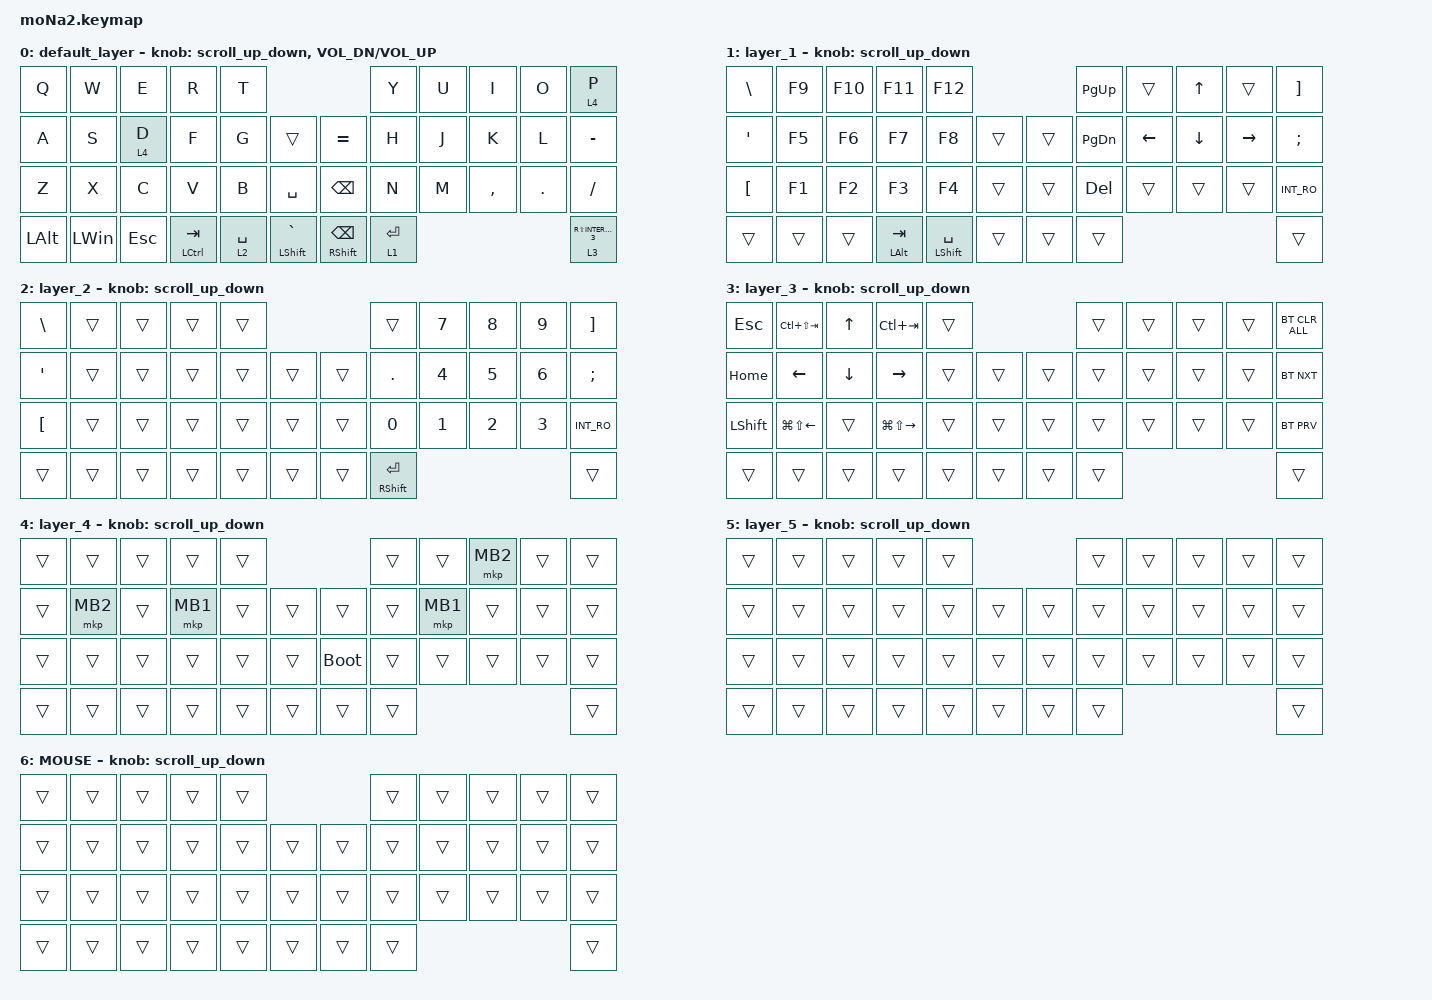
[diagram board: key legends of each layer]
#include <behaviors.dtsi>
#include <dt-bindings/zmk/bt.h>
#include <dt-bindings/zmk/keys.h>
#include <dt-bindings/zmk/pointing.h>
#include <dt-bindings/zmk/pointing.h>

#define ZMK_POINTING_DEFAULT_SCRL_VAL 100
#define MOUSE 6

&mt {
    flavor = "balanced";
    quick-tap-ms = <0>;
};

/ {
    combos { compatible = "zmk,combos"; };

    macros {
        to_layer_0: to_layer_0 {
            compatible = "zmk,behavior-macro-one-param";
            #binding-cells = <1>;
            bindings = <&to 0 &macro_param_1to1 &kp MACRO_PLACEHOLDER>;
            label = "TO_LAYER_0";
        };
    };

    behaviors {
        lt_to_layer_0: lt_to_layer_0 {
            compatible = "zmk,behavior-hold-tap";
            label = "LAYER_TAP_TO_0";
            bindings = <&mo>, <&to_layer_0>;

            #binding-cells = <2>;
            tapping-term-ms = <200>;
        };

        scroll_up_down: behavior_sensor_rotate_mouse_wheel_up_down {
            compatible = "zmk,behavior-sensor-rotate";
            #sensor-binding-cells = <0>;
            bindings = <&msc SCRL_UP>, <&msc SCRL_DOWN>;

            tap-ms = <20>;
        };
    };

    keymap {
        compatible = "zmk,keymap";

        default_layer {
            bindings = <
&kp Q         &kp W         &kp E    &kp R          &kp T                                                           &kp Y        &kp U  &kp I      &kp O    &lt 4 P
&kp A         &kp S         &lt 4 D  &kp F          &kp G        &trans                  &kp EQUAL                  &kp H        &kp J  &kp K      &kp L    &kp MINUS
&kp Z         &kp X         &kp C    &kp V          &kp B        &kp SPACE               &kp BACKSPACE              &kp N        &kp M  &kp COMMA  &kp DOT  &kp SLASH
&kp LEFT_ALT  &kp LEFT_WIN  &kp ESC  &mt LCTRL TAB  &lt 2 SPACE  &mt LEFT_SHIFT GRAVE    &mt RIGHT_SHIFT BACKSPACE  &lt 1 ENTER                             &lt 3 RS(INTERNATIONAL_3)
            >;

            sensor-bindings =
                <&scroll_up_down>,
                <&inc_dec_kp C_VOL_DN C_VOL_UP>;
        };

        layer_1 {
            bindings = <
&kp BACKSLASH     &kp F9  &kp F10  &kp F11           &kp F12                                 &kp PAGE_UP    &trans    &kp UP    &trans     &kp RIGHT_BRACKET
&kp SINGLE_QUOTE  &kp F5  &kp F6   &kp F7            &kp F8                &trans    &trans  &kp PAGE_DOWN  &kp LEFT  &kp DOWN  &kp RIGHT  &kp SEMICOLON
&kp LEFT_BRACKET  &kp F1  &kp F2   &kp F3            &kp F4                &trans    &trans  &kp DELETE     &trans    &trans    &trans     &kp INT_RO
&trans            &trans  &trans   &mt LEFT_ALT TAB  &mt LEFT_SHIFT SPACE  &trans    &trans  &trans                                        &trans
            >;

            sensor-bindings = <&scroll_up_down>;
        };

        layer_2 {
            bindings = <
&kp BACKSLASH     &trans  &trans  &trans  &trans                    &trans                 &kp NUMBER_7  &kp NUMBER_8  &kp NUMBER_9  &kp RIGHT_BRACKET
&kp SINGLE_QUOTE  &trans  &trans  &trans  &trans  &trans    &trans  &kp PERIOD             &kp NUMBER_4  &kp NUMBER_5  &kp NUMBER_6  &kp SEMICOLON
&kp LEFT_BRACKET  &trans  &trans  &trans  &trans  &trans    &trans  &kp NUMBER_0           &kp NUMBER_1  &kp NUMBER_2  &kp NUMBER_3  &kp INT_RO
&trans            &trans  &trans  &trans  &trans  &trans    &trans  &mt RIGHT_SHIFT ENTER                                            &trans
            >;

            sensor-bindings = <&scroll_up_down>;
        };

        layer_3 {
            bindings = <
&kp ESCAPE      &kp LC(LS(TAB))         &kp UP_ARROW    &kp LC(TAB)              &trans                    &trans  &trans  &trans  &trans  &bt BT_CLR_ALL
&kp HOME        &kp LEFT_ARROW          &kp DOWN_ARROW  &kp RIGHT_ARROW          &trans  &trans    &trans  &trans  &trans  &trans  &trans  &bt BT_NXT
&kp LEFT_SHIFT  &kp LG(LS(LEFT_ARROW))  &trans          &kp LG(LS(RIGHT_ARROW))  &trans  &trans    &trans  &trans  &trans  &trans  &trans  &bt BT_PRV
&trans          &trans                  &trans          &trans                   &trans  &trans    &trans  &trans                          &trans
            >;

            sensor-bindings = <&scroll_up_down>;
        };

        layer_4 {
            bindings = <
&trans  &trans    &trans  &trans    &trans                         &trans  &trans    &mkp MB2  &trans  &trans
&trans  &mkp MB2  &trans  &mkp MB1  &trans  &trans    &trans       &trans  &mkp MB1  &trans    &trans  &trans
&trans  &trans    &trans  &trans    &trans  &trans    &bootloader  &trans  &trans    &trans    &trans  &trans
&trans  &trans    &trans  &trans    &trans  &trans    &trans       &trans                              &trans
            >;

            sensor-bindings = <&scroll_up_down>;
        };

        layer_5 {
            bindings = <
&trans  &trans  &trans  &trans  &trans                    &trans  &trans  &trans  &trans  &trans
&trans  &trans  &trans  &trans  &trans  &trans    &trans  &trans  &trans  &trans  &trans  &trans
&trans  &trans  &trans  &trans  &trans  &trans    &trans  &trans  &trans  &trans  &trans  &trans
&trans  &trans  &trans  &trans  &trans  &trans    &trans  &trans                          &trans
            >;

            sensor-bindings = <&scroll_up_down>;
        };

        MOUSE {
            bindings = <
&trans  &trans  &trans  &trans  &trans                    &trans  &trans  &trans  &trans  &trans
&trans  &trans  &trans  &trans  &trans  &trans    &trans  &trans  &trans  &trans  &trans  &trans
&trans  &trans  &trans  &trans  &trans  &trans    &trans  &trans  &trans  &trans  &trans  &trans
&trans  &trans  &trans  &trans  &trans  &trans    &trans  &trans                          &trans
            >;

            sensor-bindings = <&scroll_up_down>;
        };
    };
};
